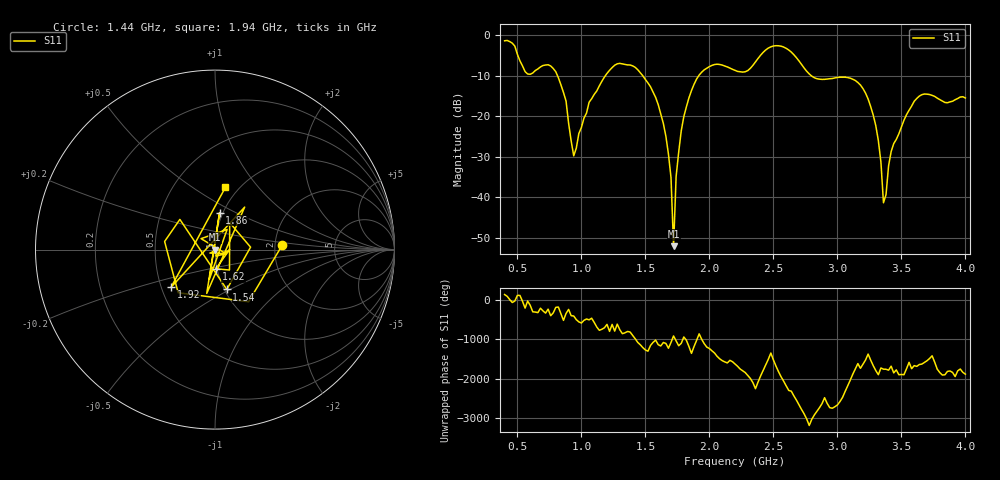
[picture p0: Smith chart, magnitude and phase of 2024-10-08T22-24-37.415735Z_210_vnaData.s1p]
! Created with skrf (http://scikit-rf.org).
# Hz S RI R 50.0
!freq ReS11 ImS11
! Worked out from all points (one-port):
!   181 points, 400 MHz to 4 GHz, reference 50 ohm
!   lowest |S11| = -52.1 dB at 1.72 GHz (marker M1), VSWR 1.00, Z = 49.8 + j0.0538 ohm
!   |S11| at or under -10 dB: 813.6 MHz to 1.186 GHz (372.9 MHz wide, 37.3 % of centre); 1.48 GHz to 1.916 GHz (436.3 MHz wide, 25.7 % of centre); 2.797 GHz to end of sweep
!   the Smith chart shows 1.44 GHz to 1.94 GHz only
!   S11 on the Smith chart (normalised r, x): 1.44 GHz: 2.20, +0.13; 1.54 GHz: 1.03, -0.48; 1.62 GHz: 0.99, -0.21; 1.86 GHz: 0.96, +0.42; 1.92 GHz: 0.56, -0.26; 1.94 GHz: 0.87, +0.69
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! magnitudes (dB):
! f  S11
! 400 MHz  -1.4
! 580 MHz  -9.6
! 760 MHz  -7.6
! 860 MHz  -14.1
! 940 MHz  -29.8
! 1.06 GHz  -16.5
! 1.3 GHz  -6.9
! 1.44 GHz  -8.5
! 1.54 GHz  -12.7
! 1.62 GHz  -19.4
! 1.7 GHz  -35.1
! 1.72 GHz  -52.1
! 1.74 GHz  -34.9
! 1.76 GHz  -28.9
! 1.86 GHz  -13.6
! 1.92 GHz  -9.8
! 1.94 GHz  -9.1
! 2.2 GHz  -8.6
! 2.5 GHz  -2.6
! 2.66 GHz  -4.8
! 2.82 GHz  -10.5
! 3.1 GHz  -10.6
! 3.28 GHz  -19.7
! 3.34 GHz  -31.3
! 3.36 GHz  -41.4
! 3.42 GHz  -28.7
! 3.56 GHz  -18.5
! 4 GHz  -15.5
